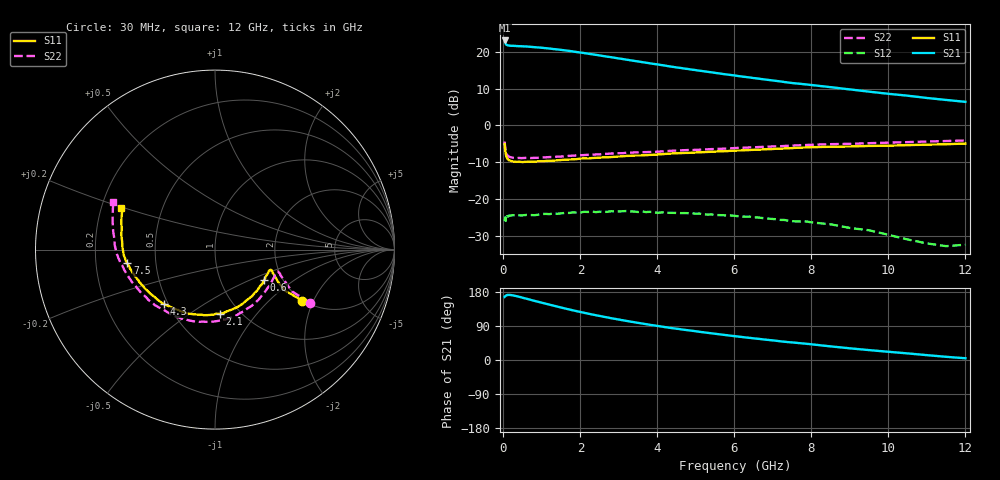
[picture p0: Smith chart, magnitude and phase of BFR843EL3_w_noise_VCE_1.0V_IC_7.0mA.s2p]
! Infineon Technologies  Discrete & RF Semiconductors
! BFR843EL3
! VCE =  1.0 V,  IC =  7.0 mA
! Common Emitter S-Parameters:  Aug 2013
# GHz  S  MA  R  50
!  f  S11  S21  S12  S22
! GHz  MAG  ANG  MAG  ANG  MAG  ANG  MAG  ANG
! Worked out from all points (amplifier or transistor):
!   103 points, 30 MHz to 12 GHz, reference 50 ohm
!   highest |S21| = 23.0 dB at 30 MHz (marker M1)
!   |S21| within 3 dB of that: start of sweep to 1.82 GHz
!   unconditionally stable (mu >= 1): 6.173 GHz to end of sweep
!   at 400 MHz: K = 0.99, MSG = 22.9 dB, |S12| = -24.3 dB
!   at 3.7 GHz: K = 0.80, MSG = 20.2 dB, |S12| = -23.4 dB
!   at 12 GHz: K = 3.92, MAG = 10.5 dB, |S12| = -32.3 dB
!   lowest NFmin = 0.87 dB at 450 MHz
!   S11 on the Smith chart (normalised r, x): 30 MHz: 1.98, -1.64; 600 MHz: 1.61, -0.61; 2.1 GHz: 0.81, -0.67; 4.3 GHz: 0.48, -0.35; 7.5 GHz: 0.34, -0.07; 12 GHz: 0.29, +0.20
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0.03  0.5612 -30.4  14.13 166.5  0.0507 32.3  0.6059 -29.2
0.04  0.4917 -30.3  13.42 167.5  0.0542 26.4  0.5344 -28.8
0.06  0.4074 -28.0  12.66 169.5  0.0512 18.6  0.4534 -26.4
0.1  0.3584 -23.2  12.21 171.5  0.0587 11.4  0.3988 -22.0
0.15  0.3389 -20.2  12.04 171.9  0.0604 6.1  0.3776 -19.7
0.35  0.3222 -22.7  11.87 168.2  0.062 4.7  0.3615 -22.8
0.6  0.3228 -31.8  11.71 161.7  0.0617 2.7  0.3651 -32.2
1  0.3271 -47.4  11.26 151.0  0.0635 2.6  0.3699 -48.9
1.4  0.3382 -62.5  10.68 140.9  0.0638 1.7  0.3789 -64.5
1.7  0.3461 -73.0  10.22 133.6  0.0655 0.8  0.3879 -75.3
2.1  0.3597 -85.9  9.532 124.5  0.068 0.3  0.3984 -88.4
2.4  0.3651 -94.4  9.025 118.1  0.0673 -1.8  0.4054 -96.9
3  0.3805 -109.0  8.061 106.7  0.0687 -4.3  0.4214 -111.6
3.5  0.3932 -119.5  7.348 97.9  0.0675 -6.5  0.4333 -122.2
4.1  0.4079 -129.7  6.58 88.4  0.0666 -9.6  0.4454 -132.4
4.3  0.415 -132.9  6.327 85.3  0.0658 -10.3  0.4521 -135.7
5.1  0.4335 -144.7  5.501 74.3  0.0642 -14.2  0.4704 -147.3
6.1  0.4589 -156.6  4.666 61.8  0.0592 -17.5  0.4978 -159.0
7.5  0.4944 -171.1  3.754 46.4  0.0507 -20.5  0.5348 -173.1
8.5  0.5153 178.9  3.298 35.9  0.046 -24.0  0.5591 177.5
10.5  0.5423 164.3  2.529 17.4  0.0287 -15.6  0.5961 163.2
12  0.5702 156.1  2.089 4.6  0.0244 14.7  0.6266 154.7
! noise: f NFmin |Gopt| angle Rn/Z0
0.45  0.87  0.11  24  0.12
0.9  0.89  0.12  40  0.13
1.5  0.92  0.13  53  0.13
1.9  0.93  0.13  59  0.13
2.4  0.95  0.14  71  0.12
3.5  0.99  0.15  90  0.12
5.5  1.06  0.2  127  0.11
8  1.14  0.29  166  0.08
10  1.21  0.41  208  0.05
